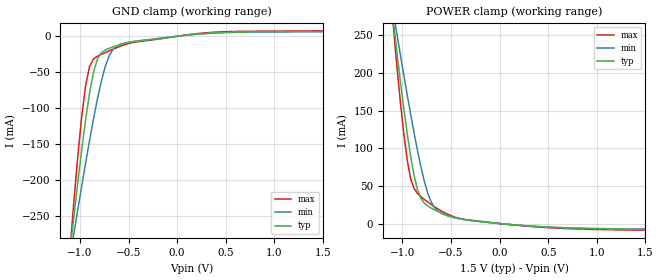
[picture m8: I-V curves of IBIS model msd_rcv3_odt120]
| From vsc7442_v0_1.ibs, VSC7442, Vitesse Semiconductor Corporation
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|   Model msd_rcv3_odt120
[Model]  msd_rcv3_odt120
Model_type Input
Polarity   Non-Inverting
Vinl =   0.5750V
Vinh =   0.9250V
C_comp   2.0000pF   1.8000pF   2.2000pF
[Temperature Range]   25.0000   0.1250k   -40.0000
[Pullup Reference]   1.5000V   1.4250V   1.5750V
[Pulldown Reference]   0.0V   0.0V   0.0V
[POWER Clamp Reference]   1.5000V   1.4250V   1.5750V
[GND Clamp Reference]   0.0V   0.0V   0.0V
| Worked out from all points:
|   GND clamp passes 1 mA (typ) near -0.06 V on its own axis
|   POWER clamp passes 1 mA (typ) near -0.08 V on its own axis
[GND_clamp]
|Voltage   I(typ)   I(min)   I(max)
-1.5V     -806.1mA   -650.2mA   -1.033A
-1.1V     -297.7mA   -307mA     -294.8mA
-1.06V    -249.1mA   -273.5mA   -227.4mA
-980mV    -156.8mA   -207.7mA   -110.2mA
-940mV    -115.1mA   -175.7mA   -67.71mA
-900mV    -78.66mA   -144.7mA   -41.73mA
-860mV    -50.18mA   -115.1mA   -31.57mA
-820mV    -31.94mA   -87.51mA   -27.83mA
-740mV    -19.19mA   -42.51mA   -22.81mA
-660mV    -14.93mA   -18.54mA   -18.07mA
-460mV    -7.855mA   -7.458mA   -8.82mA
1.5V      6.749mA    6.422mA    7.482mA
[POWER_clamp]
| voltage   I(typ)   I(min)   I(max)
-1.65V    921.7mA    726.8mA    1.198A
-1.09V    264.7mA    277.8mA    257.7mA
-1.055V   226mA      250.6mA    207.1mA
-985mV    152.7mA    197mA      119mA
-950mV    119.3mA    170.8mA    84.08mA
-915mV    89.24mA    145.3mA    59.41mA
-845mV    45.13mA    97.27mA    40.14mA
-740mV    23.48mA    40.68mA    28.65mA
-635mV    16.03mA    16.59mA    19.45mA
-390mV    5.743mA    5.78mA     6.227mA
485mV     -4.704mA   -4.511mA   -5.356mA
1.5V      -7.77mA    -7.442mA   -8.872mA
